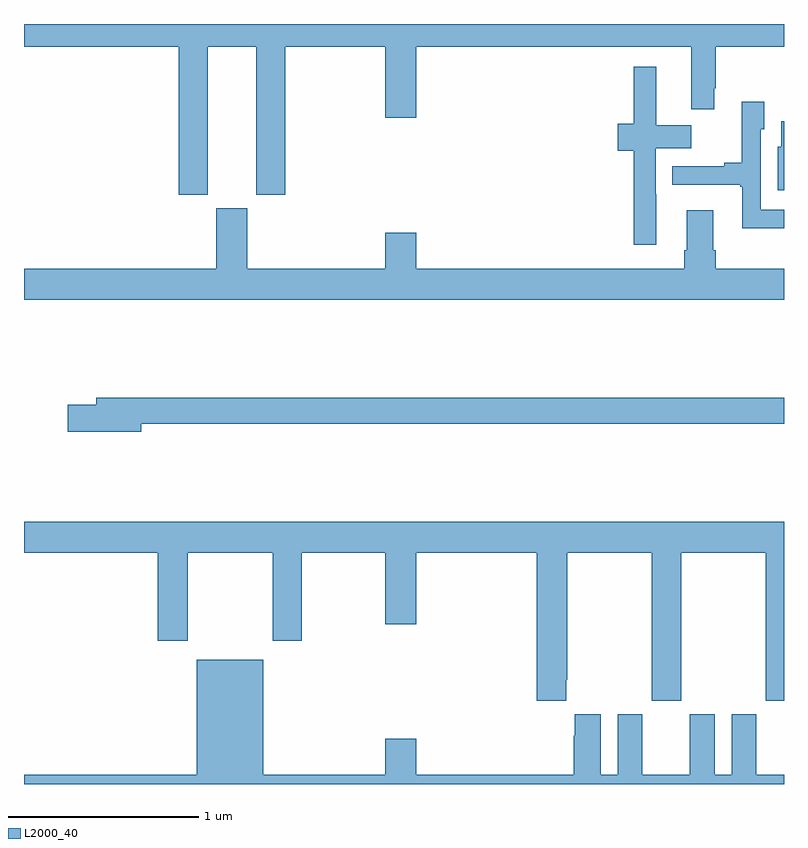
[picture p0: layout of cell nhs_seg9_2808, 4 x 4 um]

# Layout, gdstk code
import gdstk
lib = gdstk.Library(unit=1e-6, precision=1e-09)
def P(c, l, *ps):  # polygons
    for p in ps: c.add(gdstk.Polygon(p, *l))
L2000_40 = (2000, 40)

nhs_seg9_2808 = lib.new_cell('nhs_seg9_2808')
P(nhs_seg9_2808, L2000_40, [(271,1236.38),(271.814,1236.38),(271.814,1235.601),(271.966,1235.601),(271.966,1236.38),(272.222,1236.38),(272.222,1235.601),(272.375,1235.601),(272.375,1236.38),(272.9,1236.38),(272.9,1236.006),(273.064,1236.006),(273.064,1236.38),(274.511,1236.38),(274.511,1236.051),(274.633,1236.051),(274.633,1236.163),(274.641,1236.163),(274.641,1236.38),(275,1236.38),(275,1236.5),(271,1236.5)],
  [(274.327,1235.603),(274.326,1235.603),(274.326,1235.846),(274.511,1235.846),(274.511,1235.968),(274.328,1235.968),(274.328,1236.274),(274.21,1236.274),(274.21,1235.976),(274.124,1235.976),(274.124,1235.834),(274.21,1235.834),(274.21,1235.337),(274.327,1235.337)],
  [(275,1235.523),(274.878,1235.523),(274.878,1235.946),(274.897,1235.946),(274.897,1236.091),(274.777,1236.091),(274.777,1235.771),(274.685,1235.771),(274.685,1235.751),(274.411,1235.751),(274.411,1235.654),(274.77,1235.654),(274.77,1235.643),(274.781,1235.643),(274.781,1235.426),(275,1235.426)],
  [(275,1235.988),(274.985,1235.988),(274.985,1235.853),(274.967,1235.853),(274.967,1235.626),(275,1235.626)],
  [(275,1235.212),(274.64,1235.212),(274.64,1235.308),(274.627,1235.308),(274.627,1235.521),(274.487,1235.521),(274.487,1235.308),(274.475,1235.308),(274.475,1235.212),(273.064,1235.212),(273.064,1235.401),(272.9,1235.401),(272.9,1235.212),(272.176,1235.212),(272.176,1235.529),(272.012,1235.529),(272.012,1235.212),(271,1235.212),(271,1235.048),(275,1235.048)],
  [(271.618,1234.396),(275,1234.396),(275,1234.532),(271.379,1234.532),(271.379,1234.496),(271.23,1234.496),(271.23,1234.354),(271.618,1234.354)],
  [(273.853,1233.049),(273.858,1233.049),(273.858,1233.716),(274.303,1233.716),(274.303,1232.937),(274.458,1232.937),(274.458,1233.716),(274.903,1233.716),(274.903,1232.937),(275,1232.937),(275,1233.88),(271,1233.88),(271,1233.716),(271.703,1233.716),(271.703,1233.255),(271.863,1233.255),(271.863,1233.716),(272.308,1233.716),(272.308,1233.255),(272.463,1233.255),(272.463,1233.716),(272.9,1233.716),(272.9,1233.342),(273.064,1233.342),(273.064,1233.716),(273.698,1233.716),(273.698,1232.937),(273.853,1232.937)],
  [(275,1232.548),(274.855,1232.548),(274.855,1232.866),(274.724,1232.866),(274.724,1232.548),(274.636,1232.548),(274.636,1232.866),(274.505,1232.866),(274.505,1232.548),(274.255,1232.548),(274.255,1232.866),(274.124,1232.866),(274.124,1232.548),(274.036,1232.548),(274.036,1232.866),(273.899,1232.866),(273.899,1232.753),(273.893,1232.753),(273.893,1232.548),(273.064,1232.548),(273.064,1232.737),(272.9,1232.737),(272.9,1232.548),(272.26,1232.548),(272.26,1233.154),(271.91,1233.154),(271.91,1232.548),(271,1232.548),(271,1232.5),(275,1232.5)])

lib.write_gds('nhs_seg9_2808.gds')
